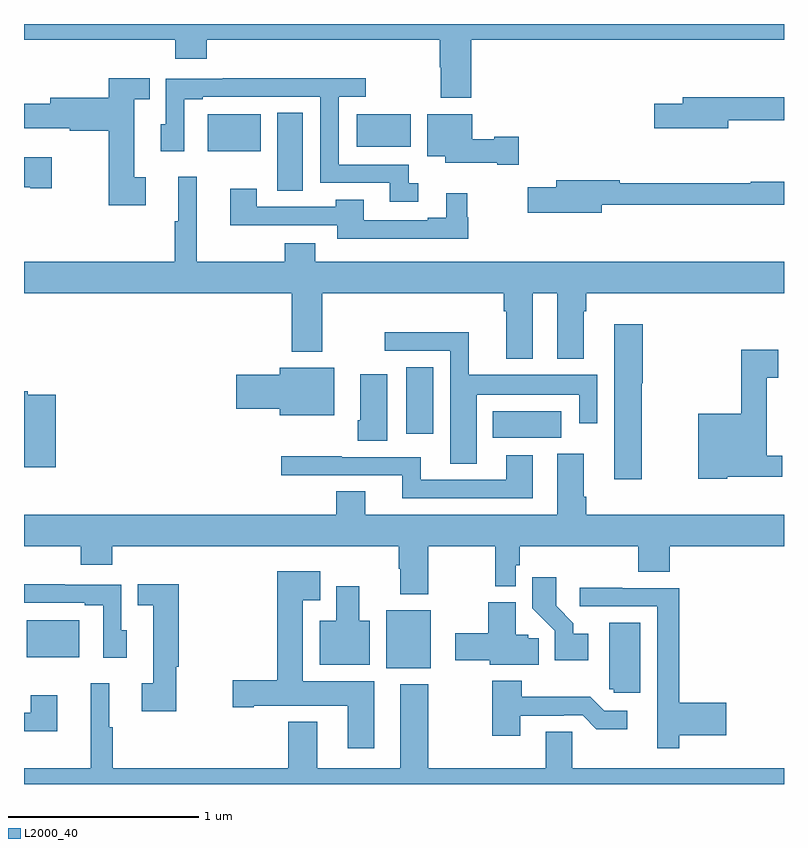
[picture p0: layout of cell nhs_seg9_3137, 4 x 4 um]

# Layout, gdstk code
import gdstk
lib = gdstk.Library(unit=1e-6, precision=1e-09)
def R(c, l, rs):  # rectangles x0, y0, x1, y1
    for r in rs: c.add(gdstk.rectangle(r[:2], r[2:], *l))
def P(c, l, *ps):  # polygons
    for p in ps: c.add(gdstk.Polygon(p, *l))
L2000_40 = (2000, 40)

nhs_seg9_3137 = lib.new_cell('nhs_seg9_3137')
R(nhs_seg9_3137, L2000_40, [(292.907,1197.11,293.14,1197.415), (291.014,1197.167,291.292,1197.361), (293.468,1198.322,293.827,1198.462), (293.012,1198.344,293.155,1198.694), (292.334,1199.623,292.468,1200.032), (291.968,1199.831,292.246,1200.025), (292.751,1199.855,293.035,1200.025)])
P(nhs_seg9_3137, L2000_40, [(293.354,1200.416),(295,1200.416),(295,1200.5),(291,1200.5),(291,1200.416),(291.797,1200.416),(291.797,1200.317),(291.962,1200.317),(291.962,1200.416),(293.189,1200.416),(293.189,1200.272),(293.194,1200.272),(293.194,1200.111),(293.354,1200.111)],
  [(291.64,1199.694),(291.58,1199.694),(291.58,1200.105),(291.662,1200.105),(291.662,1200.215),(291.446,1200.215),(291.446,1200.111),(291.137,1200.111),(291.137,1200.08),(291,1200.08),(291,1199.951),(291.241,1199.951),(291.241,1199.939),(291.446,1199.939),(291.446,1199.546),(291.64,1199.546)],
  [(293.074,1199.663),(293.024,1199.663),(293.024,1199.76),(292.656,1199.76),(292.656,1200.117),(292.798,1200.117),(292.798,1200.215),(292.045,1200.215),(292.045,1200.213),(291.747,1200.213),(291.747,1199.973),(291.719,1199.973),(291.719,1199.829),(291.843,1199.829),(291.843,1200.105),(291.94,1200.105),(291.94,1200.117),(292.56,1200.117),(292.56,1199.664),(292.925,1199.664),(292.925,1199.565),(293.074,1199.565)],
  [(294.706,1199.994),(295,1199.994),(295,1200.115),(294.467,1200.115),(294.467,1200.081),(294.318,1200.081),(294.318,1199.951),(294.706,1199.951)],
  [(293.605,1199.906),(293.474,1199.906),(293.474,1199.893),(293.359,1199.893),(293.359,1200.025),(293.123,1200.025),(293.123,1199.804),(293.216,1199.804),(293.216,1199.771),(293.492,1199.771),(293.492,1199.759),(293.605,1199.759)],
  [(291.145,1199.8),(291,1199.8),(291,1199.642),(291.032,1199.642),(291.032,1199.635),(291.145,1199.635)],
  [(293.677,1199.084),(293.807,1199.084),(293.807,1198.739),(293.947,1198.739),(293.947,1198.988),(293.96,1198.988),(293.96,1199.084),(295,1199.084),(295,1199.248),(292.532,1199.248),(292.532,1199.347),(292.372,1199.347),(292.372,1199.248),(291.91,1199.248),(291.91,1199.695),(291.812,1199.695),(291.812,1199.463),(291.793,1199.463),(291.793,1199.248),(291,1199.248),(291,1199.084),(292.409,1199.084),(292.409,1198.775),(292.569,1198.775),(292.569,1199.084),(293.525,1199.084),(293.525,1198.988),(293.537,1198.988),(293.537,1198.739),(293.677,1198.739)],
  [(294.04,1199.55),(295,1199.55),(295,1199.671),(294.824,1199.671),(294.824,1199.663),(294.136,1199.663),(294.136,1199.678),(293.801,1199.678),(293.801,1199.642),(293.652,1199.642),(293.652,1199.507),(294.04,1199.507)],
  [(293.339,1199.484),(293.332,1199.484),(293.332,1199.608),(293.222,1199.608),(293.222,1199.479),(293.126,1199.479),(293.126,1199.466),(292.789,1199.466),(292.789,1199.575),(292.642,1199.575),(292.642,1199.538),(292.225,1199.538),(292.225,1199.632),(292.085,1199.632),(292.085,1199.442),(292.649,1199.442),(292.649,1199.37),(293.339,1199.37)],
  [(294.252,1198.608),(294.257,1198.608),(294.257,1198.921),(294.107,1198.921),(294.107,1198.104),(294.252,1198.104)],
  [(293.383,1198.55),(293.922,1198.55),(293.922,1198.398),(294.018,1198.398),(294.018,1198.654),(293.342,1198.654),(293.342,1198.877),(292.899,1198.877),(292.899,1198.779),(293.243,1198.779),(293.243,1198.186),(293.383,1198.186)],
  [(294.702,1198.118),(294.992,1198.118),(294.992,1198.228),(294.91,1198.228),(294.91,1198.639),(294.97,1198.639),(294.97,1198.786),(294.776,1198.786),(294.776,1198.45),(294.548,1198.45),(294.548,1198.106),(294.702,1198.106)],
  [(292.633,1198.69),(292.346,1198.69),(292.346,1198.653),(292.116,1198.653),(292.116,1198.475),(292.346,1198.475),(292.346,1198.442),(292.633,1198.442)],
  [(292.912,1198.657),(292.769,1198.657),(292.769,1198.414),(292.757,1198.414),(292.757,1198.306),(292.912,1198.306)],
  [(291.167,1198.548),(291.02,1198.548),(291.02,1198.568),(291,1198.568),(291,1198.167),(291.167,1198.167)],
  [(293.127,1197.752),(293.481,1197.752),(293.481,1197.542),(293.589,1197.542),(293.589,1197.651),(293.609,1197.651),(293.609,1197.752),(294.233,1197.752),(294.233,1197.616),(294.398,1197.616),(294.398,1197.752),(295,1197.752),(295,1197.916),(293.96,1197.916),(293.96,1198.012),(293.947,1198.012),(293.947,1198.237),(293.807,1198.237),(293.807,1197.916),(292.795,1197.916),(292.795,1198.04),(292.643,1198.04),(292.643,1197.916),(291,1197.916),(291,1197.752),(291.299,1197.752),(291.299,1197.653),(291.464,1197.653),(291.464,1197.752),(292.972,1197.752),(292.972,1197.632),(292.979,1197.632),(292.979,1197.5),(293.127,1197.5)],
  [(293.677,1198.231),(293.537,1198.231),(293.537,1198.101),(293.089,1198.101),(293.089,1198.221),(292.673,1198.221),(292.673,1198.224),(292.353,1198.224),(292.353,1198.125),(292.991,1198.125),(292.991,1198.005),(293.677,1198.005)],
  [(292.843,1197.04),(292.468,1197.04),(292.468,1197.467),(292.558,1197.467),(292.558,1197.619),(292.334,1197.619),(292.334,1197.047),(292.098,1197.047),(292.098,1196.905),(292.21,1196.905),(292.21,1196.912),(292.703,1196.912),(292.703,1196.688),(292.843,1196.688)],
  [(293.971,1197.292),(293.89,1197.292),(293.89,1197.347),(293.8,1197.437),(293.8,1197.589),(293.674,1197.589),(293.674,1197.426),(293.793,1197.307),(293.793,1197.152),(293.971,1197.152)],
  [(291.541,1197.309),(291.513,1197.309),(291.513,1197.549),(291.215,1197.549),(291.215,1197.551),(291,1197.551),(291,1197.453),(291.32,1197.453),(291.32,1197.441),(291.417,1197.441),(291.417,1197.165),(291.541,1197.165)],
  [(291.802,1197.118),(291.815,1197.118),(291.815,1197.551),(291.598,1197.551),(291.598,1197.441),(291.68,1197.441),(291.68,1197.03),(291.621,1197.03),(291.621,1196.882),(291.802,1196.882)],
  [(292.819,1197.358),(292.765,1197.358),(292.765,1197.541),(292.643,1197.541),(292.643,1197.358),(292.556,1197.358),(292.556,1197.128),(292.819,1197.128)],
  [(294.449,1196.756),(294.697,1196.756),(294.697,1196.927),(294.449,1196.927),(294.449,1197.531),(294.149,1197.531),(294.149,1197.534),(293.925,1197.534),(293.925,1197.435),(294.333,1197.435),(294.333,1196.91),(294.332,1196.91),(294.332,1196.688),(294.449,1196.688)],
  [(293.708,1197.266),(293.655,1197.266),(293.655,1197.285),(293.587,1197.285),(293.587,1197.457),(293.443,1197.457),(293.443,1197.294),(293.271,1197.294),(293.271,1197.152),(293.45,1197.152),(293.45,1197.128),(293.708,1197.128)],
  [(294.244,1197.349),(294.08,1197.349),(294.08,1197),(294.105,1197),(294.105,1196.979),(294.244,1196.979)],
  [(293.611,1196.859),(293.84,1196.859),(293.84,1196.862),(293.94,1196.862),(294.013,1196.789),(294.175,1196.789),(294.175,1196.886),(294.054,1196.886),(293.981,1196.959),(293.619,1196.959),(293.619,1197.043),(293.464,1197.043),(293.464,1196.754),(293.611,1196.754)],
  [(295,1196.584),(293.886,1196.584),(293.886,1196.774),(293.747,1196.774),(293.747,1196.584),(293.127,1196.584),(293.127,1197.025),(292.979,1197.025),(292.979,1196.584),(292.543,1196.584),(292.543,1196.827),(292.391,1196.827),(292.391,1196.584),(291.467,1196.584),(291.467,1196.799),(291.448,1196.799),(291.448,1197.031),(291.35,1197.031),(291.35,1196.584),(291,1196.584),(291,1196.5),(295,1196.5)],
  [(291.175,1196.968),(291.035,1196.968),(291.035,1196.874),(291,1196.874),(291,1196.778),(291.175,1196.778)])

lib.write_gds('nhs_seg9_3137.gds')
